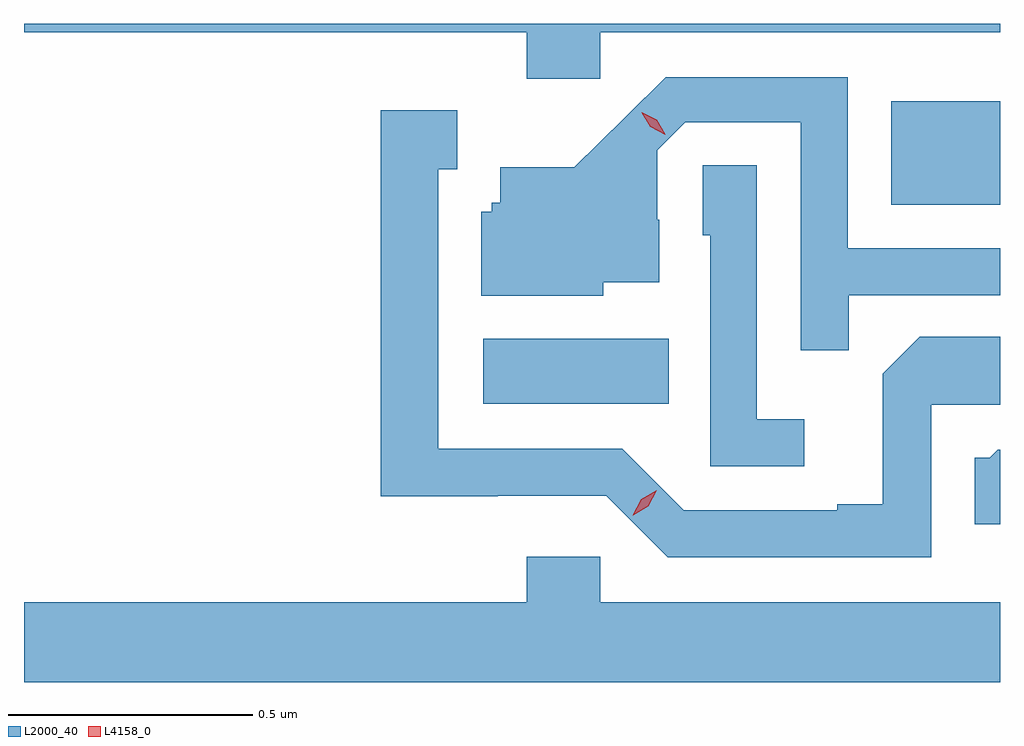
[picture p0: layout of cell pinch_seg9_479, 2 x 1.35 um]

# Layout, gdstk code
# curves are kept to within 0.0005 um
import gdstk
lib = gdstk.Library(unit=1e-6, precision=1e-09)
def R(c, l, rs):  # rectangles x0, y0, x1, y1
    for r in rs: c.add(gdstk.rectangle(r[:2], r[2:], *l))
def P(c, l, *ps):  # polygons
    for p in ps: c.add(gdstk.Polygon(p, *l))
L2000_40 = (2000, 40)
L4158_0 = (4158, 0)

pinch_seg9_479 = lib.new_cell('pinch_seg9_479')
R(pinch_seg9_479, L2000_40, [(256.59,1190.33,256.97,1190.464), (257.426,1190.738,257.649,1190.95)])
P(pinch_seg9_479, L2000_40, [(256.83,1191.092),(257.649,1191.092),(257.649,1191.109),(255.649,1191.109),(255.649,1191.092),(256.679,1191.092),(256.679,1190.997),(256.83,1190.997)],
  [(257.339,1190.553),(257.649,1190.553),(257.649,1190.649),(257.337,1190.649),(257.337,1191),(256.964,1191),(256.777,1190.815),(256.625,1190.815),(256.625,1190.742),(256.608,1190.742),(256.608,1190.724),(256.586,1190.724),(256.586,1190.552),(256.836,1190.552),(256.836,1190.579),(256.951,1190.579),(256.951,1190.708),(256.947,1190.708),(256.947,1190.85),(257.004,1190.907),(257.241,1190.907),(257.241,1190.44),(257.339,1190.44)],
  [(257.508,1190.328),(257.649,1190.328),(257.649,1190.468),(257.485,1190.468),(257.409,1190.392),(257.409,1190.125),(257.315,1190.125),(257.315,1190.112),(257.001,1190.112),(256.875,1190.238),(256.498,1190.238),(256.498,1190.811),(256.537,1190.811),(256.537,1190.932),(256.38,1190.932),(256.38,1190.141),(256.62,1190.141),(256.62,1190.142),(256.842,1190.142),(256.968,1190.016),(257.508,1190.016)],
  [(257.248,1190.299),(257.151,1190.299),(257.151,1190.819),(257.04,1190.819),(257.04,1190.676),(257.055,1190.676),(257.055,1190.202),(257.248,1190.202)],
  [(257.649,1190.236),(257.644,1190.236),(257.628,1190.22),(257.597,1190.22),(257.597,1190.084),(257.649,1190.084)],
  [(257.649,1189.924),(256.83,1189.924),(256.83,1190.017),(256.679,1190.017),(256.679,1189.924),(255.649,1189.924),(255.649,1189.76),(257.649,1189.76)])
P(pinch_seg9_479, L4158_0, [(256.963,1190.882),(256.932,1190.898),(256.915,1190.927),(256.915,1190.928),(256.915,1190.928),(256.946,1190.912),(256.963,1190.883),(256.963,1190.882)],
  [(256.896,1190.102),(256.896,1190.102),(256.914,1190.135),(256.946,1190.153),(256.946,1190.153),(256.946,1190.153),(256.928,1190.12),(256.897,1190.102)])

lib.write_gds('pinch_seg9_479.gds')
